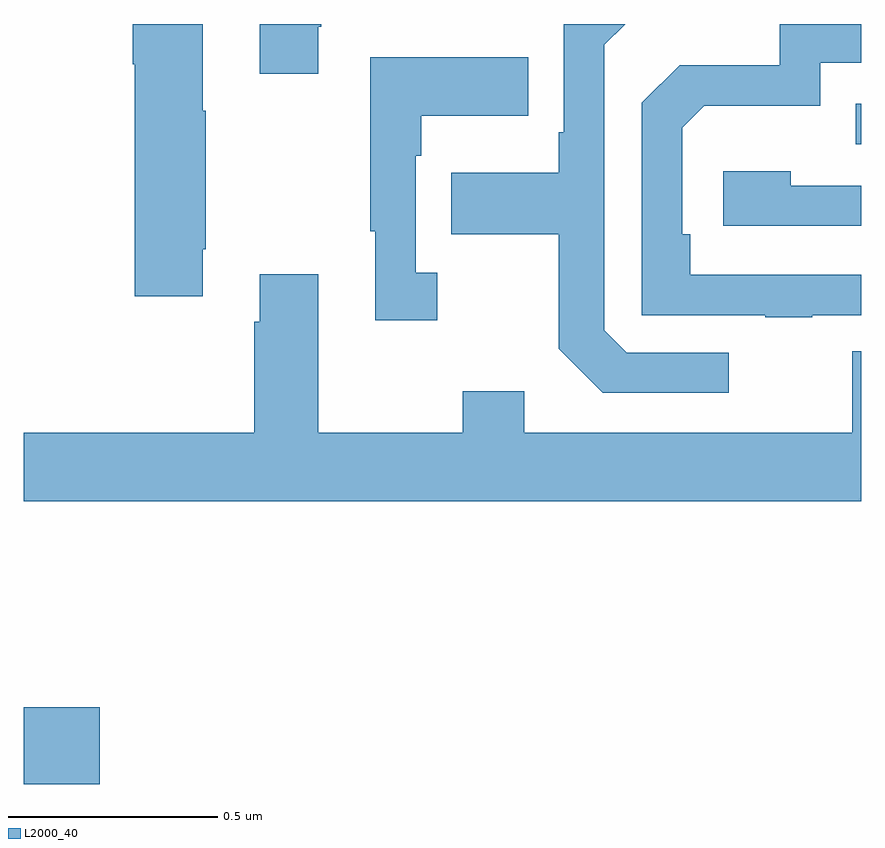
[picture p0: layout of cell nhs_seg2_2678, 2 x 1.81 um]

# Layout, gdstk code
import gdstk
lib = gdstk.Library(unit=1e-6, precision=1e-09)
def R(c, l, rs):  # rectangles x0, y0, x1, y1
    for r in rs: c.add(gdstk.rectangle(r[:2], r[2:], *l))
def P(c, l, *ps):  # polygons
    for p in ps: c.add(gdstk.Polygon(p, *l))
L2000_40 = (2000, 40)

nhs_seg2_2678 = lib.new_cell('nhs_seg2_2678')
R(nhs_seg2_2678, L2000_40, [(144,622.985,144.181,623.168), (145.987,624.513,146,624.609)])
P(nhs_seg2_2678, L2000_40, [(144.703,624.793),(144.711,624.793),(144.711,624.8),(144.563,624.8),(144.563,624.681),(144.703,624.681)],
  [(145.883,624.105),(146,624.105),(146,624.201),(145.592,624.201),(145.592,624.298),(145.572,624.298),(145.572,624.552),(145.625,624.605),(145.902,624.605),(145.902,624.708),(146,624.708),(146,624.8),(145.806,624.8),(145.806,624.702),(145.566,624.702),(145.476,624.612),(145.476,624.105),(145.771,624.105),(145.771,624.1),(145.883,624.1)],
  [(144.427,624.262),(144.435,624.262),(144.435,624.593),(144.427,624.593),(144.427,624.8),(144.26,624.8),(144.26,624.704),(144.265,624.704),(144.265,624.15),(144.427,624.15)],
  [(145.684,624.015),(145.44,624.015),(145.386,624.069),(145.386,624.75),(145.436,624.8),(145.29,624.8),(145.29,624.541),(145.278,624.541),(145.278,624.445),(145.021,624.445),(145.021,624.298),(145.278,624.298),(145.278,624.025),(145.383,623.919),(145.684,623.919)],
  [(144.988,624.206),(144.936,624.206),(144.936,624.485),(144.949,624.485),(144.949,624.581),(145.205,624.581),(145.205,624.721),(144.828,624.721),(144.828,624.305),(144.839,624.305),(144.839,624.093),(144.988,624.093)],
  [(146,624.414),(145.832,624.414),(145.832,624.448),(145.671,624.448),(145.671,624.318),(146,624.318)],
  [(146,624.019),(145.979,624.019),(145.979,623.824),(145.195,623.824),(145.195,623.923),(145.048,623.923),(145.048,623.824),(144.703,623.824),(144.703,624.202),(144.563,624.202),(144.563,624.089),(144.551,624.089),(144.551,623.824),(144,623.824),(144,623.66),(146,623.66)])

lib.write_gds('nhs_seg2_2678.gds')
